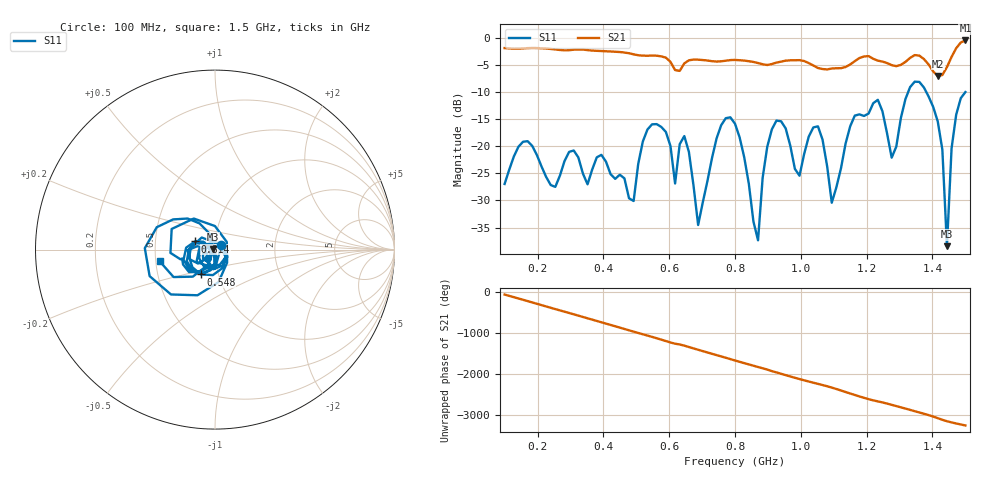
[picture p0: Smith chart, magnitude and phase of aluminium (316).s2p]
! NanoVNA-App
! Date: 2025-09-25 14:57:44
! Start: 100MHz Stop: 1,5GHz Points: 101
! S-Parameter data: F S11 S21 S12 S22
# Hz S RI R 50
!  Frequency  S11_Real  S11_Imag  S21_Real  S21_Imag  S12_Real  S12_Imag  S22_Real  S22_Imag
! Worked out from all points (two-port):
!   101 points, 100 MHz to 1.5 GHz, reference 50 ohm
!   highest |S21| = -0.52 dB at 1.5 GHz (marker M1); lowest = -7.1 dB at 1.416 GHz (marker M2)
!   |S21| within 3 dB of the highest: start of sweep to 580 MHz; 1.458 GHz to end of sweep (the widest 2 of 4)
!   lowest |S11| = -38.4 dB at 1.444 GHz (marker M3), VSWR 1.02, Z = 48.9 + j0.397 ohm
!   |S11| at or under -10 dB: start of sweep to 1.326 GHz; 1.381 GHz to end of sweep
!   S12 and S22 are empty: the file has one direction only
!   S11 on the Smith chart (normalised r, x): 100 MHz: 1.07, +0.06; 548 MHz: 0.82, -0.23; 814 MHz: 0.80, +0.07; 1.5 GHz: 0.52, -0.08
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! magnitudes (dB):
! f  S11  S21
! 100 MHz  -27.0  -1.9
! 338 MHz  -25.1  -2.2
! 492 MHz  -30.1  -3.1
! 548 MHz  -16.0  -3.3
! 576 MHz  -16.4  -3.4
! 618 MHz  -26.9  -6.0
! 646 MHz  -18.1  -4.7
! 688 MHz  -34.5  -4.1
! 800 MHz  -15.9  -4.1
! 814 MHz  -18.4  -4.2
! 870 MHz  -37.3  -4.7
! 912 MHz  -16.9  -4.9
! 996 MHz  -25.4  -4.1
! 1.038 GHz  -16.5  -5.1
! 1.094 GHz  -30.4  -5.7
! 1.164 GHz  -14.4  -4.3
! 1.276 GHz  -22.1  -5.1
! 1.346 GHz  -8.1  -3.2
! 1.416 GHz  -15.4  -7.1
! 1.444 GHz  -38.4  -5.4
! 1.458 GHz  -20.4  -3.5
! 1.5 GHz  -10.0  -0.5
